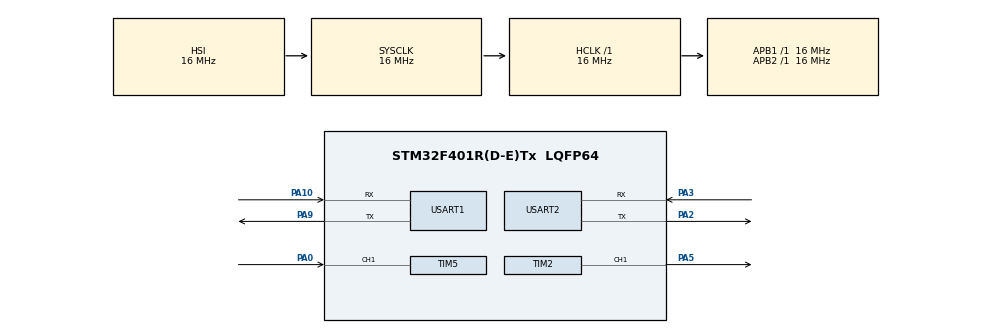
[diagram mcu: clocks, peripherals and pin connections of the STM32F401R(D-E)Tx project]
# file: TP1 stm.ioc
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Mcu.Family=STM32F4
Mcu.Name=STM32F401R(D-E)Tx
Mcu.Package=LQFP64
NVIC.PriorityGroup=NVIC_PRIORITYGROUP_4
NVIC.TIM5_IRQn=true\:0\:0\:false\:false\:true\:true
PA0-WKUP.GPIO_ModeDefaultPP=GPIO_MODE_AF_PP
PA0-WKUP.GPIO_PuPd=GPIO_PULLUP
PA0-WKUP.Signal=S_TIM5_CH1
PA10.Mode=Asynchronous
PA10.Signal=USART1_RX
PA2.Mode=Asynchronous
PA2.Signal=USART2_TX
PA3.Mode=Asynchronous
PA3.Signal=USART2_RX
PA5.Signal=S_TIM2_CH1_ETR
PA9.Mode=Asynchronous
PA9.Signal=USART1_TX
ProjectManager.HeapSize=0x200
ProjectManager.StackSize=0x400
ProjectManager.TargetToolchain=Makefile
RCC.AHBFreq_Value=16000000
RCC.APB1Freq_Value=16000000
RCC.APB2Freq_Value=16000000
RCC.CortexFreq_Value=16000000
RCC.HSE_VALUE=25000000
RCC.HSI_VALUE=16000000
RCC.LSE_VALUE=32768
RCC.SYSCLKFreq_VALUE=16000000
RCC.VCOOutputFreq_Value=192000000
SH.S_TIM2_CH1_ETR.0=TIM2_CH1,PWM Generation1 CH1
SH.S_TIM5_CH1.0=TIM5_CH1,Input_Capture1_from_TI1
TIM2.Channel-PWM\ Generation1\ CH1=TIM_CHANNEL_1
TIM2.Period=2000-1
TIM2.Prescaler=1080-1
TIM5.Channel-Input_Capture1_from_TI1=TIM_CHANNEL_1
TIM5.ICPolarity_CH1=TIM_INPUTCHANNELPOLARITY_BOTHEDGE
TIM5.Period=4294967295
USART1.VirtualMode=VM_ASYNC
USART2.VirtualMode=VM_ASYNC
VP_TIM2_VS_ClockSourceINT.Mode=Internal
board=TP1 stm

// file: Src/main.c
/**
  ******************************************************************************
  * File Name          : main.c
  * Description        : Main program body
  ******************************************************************************
  ** This notice applies to any and all portions of this file
  * that are not between comment pairs USER CODE BEGIN and
  * USER CODE END. Other portions of this file, whether
  * inserted by the user or by software development tools
  * are owned by their respective copyright owners.
  *
  * COPYRIGHT(c) 2017 STMicroelectronics
  *
  * Redistribution and use in source and binary forms, with or without modification,
  * are permitted provided that the following conditions are met:
  *   1. Redistributions of source code must retain the above copyright notice,
  *      this list of conditions and the following disclaimer.
  *   2. Redistributions in binary form must reproduce the above copyright notice,
  *      this list of conditions and the following disclaimer in the documentation
  *      and/or other materials provided with the distribution.
  *   3. Neither the name of STMicroelectronics nor the names of its contributors
  *      may be used to endorse or promote products derived from this software
  *      without specific prior written permission.
  *
  * THIS SOFTWARE IS PROVIDED BY THE COPYRIGHT HOLDERS AND CONTRIBUTORS "AS IS"
  * AND ANY EXPRESS OR IMPLIED WARRANTIES, INCLUDING, BUT NOT LIMITED TO, THE
  * IMPLIED WARRANTIES OF MERCHANTABILITY AND FITNESS FOR A PARTICULAR PURPOSE ARE
  * DISCLAIMED. IN NO EVENT SHALL THE COPYRIGHT HOLDER OR CONTRIBUTORS BE LIABLE
  * FOR ANY DIRECT, INDIRECT, INCIDENTAL, SPECIAL, EXEMPLARY, OR CONSEQUENTIAL
  * DAMAGES (INCLUDING, BUT NOT LIMITED TO, PROCUREMENT OF SUBSTITUTE GOODS OR
  * SERVICES; LOSS OF USE, DATA, OR PROFITS; OR BUSINESS INTERRUPTION) HOWEVER
  * CAUSED AND ON ANY THEORY OF LIABILITY, WHETHER IN CONTRACT, STRICT LIABILITY,
  * OR TORT (INCLUDING NEGLIGENCE OR OTHERWISE) ARISING IN ANY WAY OUT OF THE USE
  * OF THIS SOFTWARE, EVEN IF ADVISED OF THE POSSIBILITY OF SUCH DAMAGE.
  *
  ******************************************************************************
  */

#include "main.h"
#include "stm32f4xx_hal.h"
#include "tim.h"
#include "usart.h"
#include "gpio.h"

/* USER CODE BEGIN Includes */
#include "interruption_timer.h"
#include "uart_custom.h"
#include "sendalarm.h"

/* USER CODE END Includes */

/* USER CODE BEGIN PV */
/* Private variables ---------------------------------------------------------*/

/* USER CODE END PV */

void SystemClock_Config(void);

/* USER CODE BEGIN PFP */
/* Private function prototypes -----------------------------------------------*/

/* USER CODE END PFP */

int main(void)
{

  /* MCU Configuration----------------------------------------------------------*/

  /* Reset of all peripherals, Initializes the Flash interface and the Systick. */
  HAL_Init();

  /* Configure the system clock */
  SystemClock_Config();

  /* Initialize all configured peripherals */
  MX_GPIO_Init();
  MX_TIM2_Init();
  MX_USART2_UART_Init();
  MX_TIM5_Init();
  MX_USART1_UART_Init();

  /* Infinite loop */
  /* USER CODE BEGIN WHILE */

  uart_print("Hello, starting to wait for interrupts \r\n");
  HAL_TIM_IC_Start_IT(&htim5, TIM_CHANNEL_1);
  //__HAL_TIM_SET_AUTORELOAD(&htim5,0);

  char buf[50] = {};
  while (1)
  {
	  if(interrupt_received)
	  {
		  register_current_duty_cycle(duty_cycle);

		  uint8_t current_mean = get_current_mean_duty_cycle();
		  sprintf(buf,"mean duty cycle: %d\r\n", current_mean);
		  uart_print(buf);
		  if(is_alarm_triggered())
			  uart_bt_2bytes('A',current_mean);
		  interrupt_received = false;
	  }
	  if(read_uart_bt(buf, 50))
	  {
		if(buf[0] == 'R')
			uart_bt_2bytes('R',get_current_mean_duty_cycle());
		uart_print(buf);
	  }
  }
  /* USER CODE END WHILE */

}

/** System Clock Configuration
*/
void SystemClock_Config(void)
{

  RCC_OscInitTypeDef RCC_OscInitStruct;
  RCC_ClkInitTypeDef RCC_ClkInitStruct;

    /**Configure the main internal regulator output voltage
    */
  __HAL_RCC_PWR_CLK_ENABLE();

  __HAL_PWR_VOLTAGESCALING_CONFIG(PWR_REGULATOR_VOLTAGE_SCALE2);

    /**Initializes the CPU, AHB and APB busses clocks
    */
  RCC_OscInitStruct.OscillatorType = RCC_OSCILLATORTYPE_HSI;
  RCC_OscInitStruct.HSIState = RCC_HSI_ON;
  RCC_OscInitStruct.HSICalibrationValue = 16;
  RCC_OscInitStruct.PLL.PLLState = RCC_PLL_NONE;
  if (HAL_RCC_OscConfig(&RCC_OscInitStruct) != HAL_OK)
  {
    _Error_Handler(__FILE__, __LINE__);
  }

    /**Initializes the CPU, AHB and APB busses clocks
    */
  RCC_ClkInitStruct.ClockType = RCC_CLOCKTYPE_HCLK|RCC_CLOCKTYPE_SYSCLK
                              |RCC_CLOCKTYPE_PCLK1|RCC_CLOCKTYPE_PCLK2;
  RCC_ClkInitStruct.SYSCLKSource = RCC_SYSCLKSOURCE_HSI;
  RCC_ClkInitStruct.AHBCLKDivider = RCC_SYSCLK_DIV1;
  RCC_ClkInitStruct.APB1CLKDivider = RCC_HCLK_DIV1;
  RCC_ClkInitStruct.APB2CLKDivider = RCC_HCLK_DIV1;

  if (HAL_RCC_ClockConfig(&RCC_ClkInitStruct, FLASH_LATENCY_0) != HAL_OK)
  {
    _Error_Handler(__FILE__, __LINE__);
  }

    /**Configure the Systick interrupt time
    */
  HAL_SYSTICK_Config(HAL_RCC_GetHCLKFreq()/1000);

    /**Configure the Systick
    */
  HAL_SYSTICK_CLKSourceConfig(SYSTICK_CLKSOURCE_HCLK);

  /* SysTick_IRQn interrupt configuration */
  HAL_NVIC_SetPriority(SysTick_IRQn, 0, 0);
}

void _Error_Handler(char * file, int line)
{
  while(1)
  {
  }
}

/************************ (C) COPYRIGHT STMicroelectronics *****END OF FILE****/
